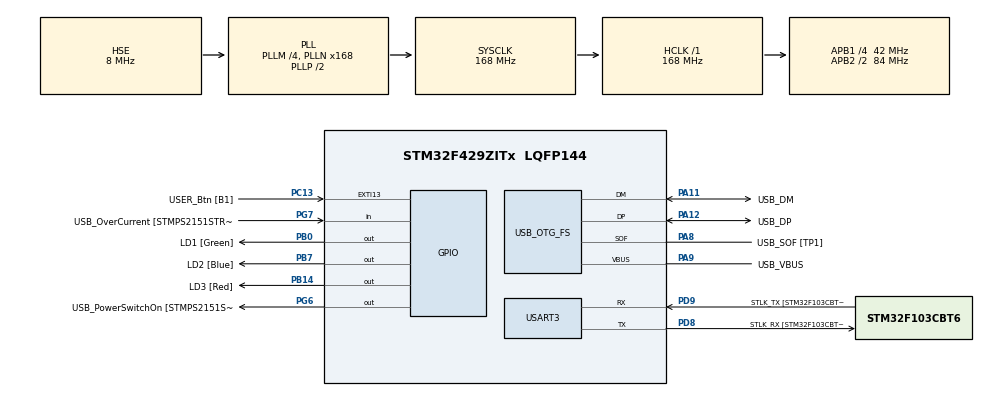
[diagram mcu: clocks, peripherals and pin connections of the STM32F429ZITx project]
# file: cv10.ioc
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Mcu.Family=STM32F4
Mcu.Name=STM32F429ZITx
Mcu.Package=LQFP144
NVIC.OTG_FS_IRQn=true\:0\:0\:false\:false\:true\:false\:true\:true
NVIC.PriorityGroup=NVIC_PRIORITYGROUP_4
PA1.GPIO_Label=RMII_REF_CLK [LAN8742A-CZ-TR_REFCLK0]
PA1.Signal=ETH_REF_CLK
PA10.GPIO_Label=USB_ID
PA10.Signal=USB_OTG_FS_ID
PA11.GPIO_Label=USB_DM
PA11.Mode=Device_Only
PA11.Signal=USB_OTG_FS_DM
PA12.GPIO_Label=USB_DP
PA12.Mode=Device_Only
PA12.Signal=USB_OTG_FS_DP
PA13.GPIO_Label=TMS
PA13.Mode=Serial_Wire
PA13.Signal=SYS_JTMS-SWDIO
PA14.GPIO_Label=TCK
PA14.Mode=Serial_Wire
PA14.Signal=SYS_JTCK-SWCLK
PA2.GPIO_Label=RMII_MDIO [LAN8742A-CZ-TR_MDIO]
PA2.Signal=ETH_MDIO
PA7.GPIO_Label=RMII_CRS_DV [LAN8742A-CZ-TR_CRS_DV]
PA7.Signal=ETH_CRS_DV
PA8.GPIO_Label=USB_SOF [TP1]
PA8.Mode=Activate_SOF_FS
PA8.Signal=USB_OTG_FS_SOF
PA9.GPIO_Label=USB_VBUS
PA9.Mode=Activate_VBUS
PA9.Signal=USB_OTG_FS_VBUS
PB0.GPIO_Label=LD1 [Green]
PB0.Signal=GPIO_Output
PB13.GPIO_Label=RMII_TXD1 [LAN8742A-CZ-TR_TXD1]
PB13.Signal=ETH_TXD1
PB14.GPIO_Label=LD3 [Red]
PB14.Signal=GPIO_Output
PB7.GPIO_Label=LD2 [Blue]
PB7.Signal=GPIO_Output
PC1.GPIO_Label=RMII_MDC [LAN8742A-CZ-TR_MDC]
PC1.Signal=ETH_MDC
PC13.GPIO_Label=USER_Btn [B1]
PC13.Signal=GPXTI13
PC14/OSC32_IN.Mode=LSE-External-Oscillator
PC14/OSC32_IN.Signal=RCC_OSC32_IN
PC15/OSC32_OUT.Mode=LSE-External-Oscillator
PC15/OSC32_OUT.Signal=RCC_OSC32_OUT
PC4.GPIO_Label=RMII_RXD0 [LAN8742A-CZ-TR_RXD0]
PC4.Signal=ETH_RXD0
PC5.GPIO_Label=RMII_RXD1 [LAN8742A-CZ-TR_RXD1]
PC5.Signal=ETH_RXD1
PD8.GPIO_Label=STLK_RX [STM32F103CBT6_PA3]
PD8.Mode=Asynchronous
PD8.Signal=USART3_TX
PD9.GPIO_Label=STLK_TX [STM32F103CBT6_PA2]
PD9.Mode=Asynchronous
PD9.Signal=USART3_RX
PG11.GPIO_Label=RMII_TX_EN [LAN8742A-CZ-TR_TXEN]
PG11.Signal=ETH_TX_EN
PG13.GPIO_Label=RMII_TXD0 [LAN8742A-CZ-TR_TXD0]
PG13.Signal=ETH_TXD0
PG6.GPIO_Label=USB_PowerSwitchOn [STMPS2151STR_EN]
PG6.Signal=GPIO_Output
PG7.GPIO_Label=USB_OverCurrent [STMPS2151STR_FAULT]
PG7.Signal=GPIO_Input
PH0/OSC_IN.GPIO_Label=MCO [STM32F103CBT6_PA8]
PH0/OSC_IN.Mode=HSE-External-Clock-Source
PH0/OSC_IN.Signal=RCC_OSC_IN
PH1/OSC_OUT.Mode=HSE-External-Clock-Source
PH1/OSC_OUT.Signal=RCC_OSC_OUT
ProjectManager.HeapSize=0x200
ProjectManager.StackSize=0x400
ProjectManager.TargetToolchain=STM32CubeIDE
RCC.48MHZClocksFreq_Value=48000000
RCC.AHBFreq_Value=168000000
RCC.APB1CLKDivider=RCC_HCLK_DIV4
RCC.APB1Freq_Value=42000000
RCC.APB1TimFreq_Value=84000000
RCC.APB2CLKDivider=RCC_HCLK_DIV2
RCC.APB2Freq_Value=84000000
RCC.APB2TimCLKDivider=2
RCC.APB2TimFreq_Value=168000000
RCC.CortexFreq_Value=168000000
RCC.HCLKFreq_Value=168000000
RCC.HSE_VALUE=8000000
RCC.HSI_VALUE=16000000
RCC.PLLM=4
RCC.PLLMUL=RCC_PLL_MUL9
RCC.PLLN=168
RCC.PLLQ=7
RCC.PRESCALERUSB=RCC_USBCLKSOURCE_PLL_DIV1_5
RCC.SYSCLKFreq_VALUE=168000000
RCC.SYSCLKSource=RCC_SYSCLKSOURCE_PLLCLK
RCC.SYSCLKSourceVirtual=RCC_SYSCLKSOURCE_PLLCLK
RCC.USBFreq_Value=48000000
RCC.VCOOutputFreq_Value=336000000
USART3.VirtualMode=VM_ASYNC
USB_DEVICE.CLASS_NAME_FS=HID
USB_DEVICE.VirtualMode-HID_FS=Hid
USB_DEVICE.VirtualModeFS=Hid_FS
USB_OTG_FS.VirtualMode=Device_Only
VP_USB_DEVICE_VS_USB_DEVICE_HID_FS.Mode=HID_FS
board=NUCLEO-F429ZI

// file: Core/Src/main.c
/* USER CODE BEGIN Header */
/**
  ******************************************************************************
  * @file           : main.c
  * @brief          : Main program body
  ******************************************************************************
  * @attention
  *
  * Copyright (c) 2024 STMicroelectronics.
  * All rights reserved.
  *
  * This software is licensed under terms that can be found in the LICENSE file
  * in the root directory of this software component.
  * If no LICENSE file comes with this software, it is provided AS-IS.
  *
  ******************************************************************************
  */
/* USER CODE END Header */
#include "main.h"
#include "usb_device.h"

/* USER CODE BEGIN Includes */
#include "usbd_hid.h"
#include "math.h"
/* USER CODE END Includes */

/* USER CODE BEGIN PD */
#define STEPSIZE 50
/* USER CODE END PD */

UART_HandleTypeDef huart3;
extern USBD_HandleTypeDef hUsbDeviceFS;

void SystemClock_Config(void);
static void MX_GPIO_Init(void);
static void MX_USART3_UART_Init(void);
void step(int x, int y, int btn);
void circle(int radius);

/* USER CODE BEGIN 0 */
void step(int x, int y, int btn)
{
	uint8_t buff[4];
	buff[0] = btn?0x01:0x00; // stiskni leve tlacitko
	buff[1] = (int8_t)(x); // posun X +10
	buff[2] = (int8_t)(y); // posun Y -3
	buff[3] = 0; // bez scrollu

	USBD_HID_SendReport(&hUsbDeviceFS, buff, sizeof(buff));
	HAL_Delay(USBD_HID_GetPollingInterval(&hUsbDeviceFS));
}

void circle(int radius)
{
	float angle = 0;
	float pi = 3.14159265359;
	float x = 0;
	float y = 0;
	float dx = 0;
	float dy = 0;
	float sx = radius*cosf(angle);
	float sy = radius*sinf(angle);
	float d_angle = 2*pi/STEPSIZE;
	uint8_t i = 1;

	for(i=0; i<=STEPSIZE+1;i++){
		angle = i*d_angle;
		x = (float)radius*cosf(angle);
		y = (float)radius*sinf(angle);
		dx = x-sx;
		dy = y-sy;
		step((int)dx,(int)dy,1);
		sx = x;
		sy = y;
	}
}

/* USER CODE END 0 */

int main(void)
{

  /* MCU Configuration--------------------------------------------------------*/

  /* Reset of all peripherals, Initializes the Flash interface and the Systick. */
  HAL_Init();

  /* Configure the system clock */
  SystemClock_Config();

  /* Initialize all configured peripherals */
  MX_GPIO_Init();
  MX_USART3_UART_Init();
  MX_USB_DEVICE_Init();

  /* Infinite loop */
  while (1)
  {

    /* USER CODE BEGIN 3 */
//	  uint8_t buff[4];
//	  buff[0] = 0x01; // press the left button
//	  buff[1] = (int8_t)(10); // shift X +10
//	  buff[2] = (int8_t)(-3); // shift Y -3
//	  buff[3] = 0; // no scroll
//	  USBD_HID_SendReport(&hUsbDeviceFS, buff, sizeof(buff));
	  //	  HAL_Delay(USBD_HID_GetPollingInterval(&hUsbDeviceFS));
	  if(HAL_GPIO_ReadPin(USER_Btn_GPIO_Port, USER_Btn_Pin)){
		  circle(160);
		  step(0,0,0);
		  step(-50,-40,0);
		  circle(45);
		  step(0,0,0);
		  step(-100,0,0);
		  circle(45);
		  step(0,0,0);
		  step(0,100,0);
		  step(90,0,0);
		  step(0,0,1);
		  step(-110,0,1);
		  step(0,0,0);
	  }else{
		  step(0,0,0);
	  }
  }
  /* USER CODE END 3 */
}

void SystemClock_Config(void)
{
  RCC_OscInitTypeDef RCC_OscInitStruct = {0};
  RCC_ClkInitTypeDef RCC_ClkInitStruct = {0};

  /** Configure the main internal regulator output voltage
  */
  __HAL_RCC_PWR_CLK_ENABLE();
  __HAL_PWR_VOLTAGESCALING_CONFIG(PWR_REGULATOR_VOLTAGE_SCALE1);

  /** Initializes the RCC Oscillators according to the specified parameters
  * in the RCC_OscInitTypeDef structure.
  */
  RCC_OscInitStruct.OscillatorType = RCC_OSCILLATORTYPE_HSE;
  RCC_OscInitStruct.HSEState = RCC_HSE_BYPASS;
  RCC_OscInitStruct.PLL.PLLState = RCC_PLL_ON;
  RCC_OscInitStruct.PLL.PLLSource = RCC_PLLSOURCE_HSE;
  RCC_OscInitStruct.PLL.PLLM = 4;
  RCC_OscInitStruct.PLL.PLLN = 168;
  RCC_OscInitStruct.PLL.PLLP = RCC_PLLP_DIV2;
  RCC_OscInitStruct.PLL.PLLQ = 7;
  if (HAL_RCC_OscConfig(&RCC_OscInitStruct) != HAL_OK)
  {
    Error_Handler();
  }

  /** Initializes the CPU, AHB and APB buses clocks
  */
  RCC_ClkInitStruct.ClockType = RCC_CLOCKTYPE_HCLK|RCC_CLOCKTYPE_SYSCLK
                              |RCC_CLOCKTYPE_PCLK1|RCC_CLOCKTYPE_PCLK2;
  RCC_ClkInitStruct.SYSCLKSource = RCC_SYSCLKSOURCE_PLLCLK;
  RCC_ClkInitStruct.AHBCLKDivider = RCC_SYSCLK_DIV1;
  RCC_ClkInitStruct.APB1CLKDivider = RCC_HCLK_DIV4;
  RCC_ClkInitStruct.APB2CLKDivider = RCC_HCLK_DIV2;

  if (HAL_RCC_ClockConfig(&RCC_ClkInitStruct, FLASH_LATENCY_5) != HAL_OK)
  {
    Error_Handler();
  }
}

static void MX_USART3_UART_Init(void)
{

  huart3.Instance = USART3;
  huart3.Init.BaudRate = 115200;
  huart3.Init.WordLength = UART_WORDLENGTH_8B;
  huart3.Init.StopBits = UART_STOPBITS_1;
  huart3.Init.Parity = UART_PARITY_NONE;
  huart3.Init.Mode = UART_MODE_TX_RX;
  huart3.Init.HwFlowCtl = UART_HWCONTROL_NONE;
  huart3.Init.OverSampling = UART_OVERSAMPLING_16;
  if (HAL_UART_Init(&huart3) != HAL_OK)
  {
    Error_Handler();
  }

}

static void MX_GPIO_Init(void)
{
  GPIO_InitTypeDef GPIO_InitStruct = {0};

  /* GPIO Ports Clock Enable */
  __HAL_RCC_GPIOC_CLK_ENABLE();
  __HAL_RCC_GPIOH_CLK_ENABLE();
  __HAL_RCC_GPIOA_CLK_ENABLE();
  __HAL_RCC_GPIOB_CLK_ENABLE();
  __HAL_RCC_GPIOD_CLK_ENABLE();
  __HAL_RCC_GPIOG_CLK_ENABLE();

  /*Configure GPIO pin Output Level */
  HAL_GPIO_WritePin(GPIOB, LD1_Pin|LD3_Pin|LD2_Pin, GPIO_PIN_RESET);

  /*Configure GPIO pin Output Level */
  HAL_GPIO_WritePin(USB_PowerSwitchOn_GPIO_Port, USB_PowerSwitchOn_Pin, GPIO_PIN_RESET);

  /*Configure GPIO pin : USER_Btn_Pin */
  GPIO_InitStruct.Pin = USER_Btn_Pin;
  GPIO_InitStruct.Mode = GPIO_MODE_IT_RISING;
  GPIO_InitStruct.Pull = GPIO_NOPULL;
  HAL_GPIO_Init(USER_Btn_GPIO_Port, &GPIO_InitStruct);

  /*Configure GPIO pins : RMII_MDC_Pin RMII_RXD0_Pin RMII_RXD1_Pin */
  GPIO_InitStruct.Pin = RMII_MDC_Pin|RMII_RXD0_Pin|RMII_RXD1_Pin;
  GPIO_InitStruct.Mode = GPIO_MODE_AF_PP;
  GPIO_InitStruct.Pull = GPIO_NOPULL;
  GPIO_InitStruct.Speed = GPIO_SPEED_FREQ_VERY_HIGH;
  GPIO_InitStruct.Alternate = GPIO_AF11_ETH;
  HAL_GPIO_Init(GPIOC, &GPIO_InitStruct);

  /*Configure GPIO pins : RMII_REF_CLK_Pin RMII_MDIO_Pin RMII_CRS_DV_Pin */
  GPIO_InitStruct.Pin = RMII_REF_CLK_Pin|RMII_MDIO_Pin|RMII_CRS_DV_Pin;
  GPIO_InitStruct.Mode = GPIO_MODE_AF_PP;
  GPIO_InitStruct.Pull = GPIO_NOPULL;
  GPIO_InitStruct.Speed = GPIO_SPEED_FREQ_VERY_HIGH;
  GPIO_InitStruct.Alternate = GPIO_AF11_ETH;
  HAL_GPIO_Init(GPIOA, &GPIO_InitStruct);

  /*Configure GPIO pins : LD1_Pin LD3_Pin LD2_Pin */
  GPIO_InitStruct.Pin = LD1_Pin|LD3_Pin|LD2_Pin;
  GPIO_InitStruct.Mode = GPIO_MODE_OUTPUT_PP;
  GPIO_InitStruct.Pull = GPIO_NOPULL;
  GPIO_InitStruct.Speed = GPIO_SPEED_FREQ_LOW;
  HAL_GPIO_Init(GPIOB, &GPIO_InitStruct);

  /*Configure GPIO pin : RMII_TXD1_Pin */
  GPIO_InitStruct.Pin = RMII_TXD1_Pin;
  GPIO_InitStruct.Mode = GPIO_MODE_AF_PP;
  GPIO_InitStruct.Pull = GPIO_NOPULL;
  GPIO_InitStruct.Speed = GPIO_SPEED_FREQ_VERY_HIGH;
  GPIO_InitStruct.Alternate = GPIO_AF11_ETH;
  HAL_GPIO_Init(RMII_TXD1_GPIO_Port, &GPIO_InitStruct);

  /*Configure GPIO pin : USB_PowerSwitchOn_Pin */
  GPIO_InitStruct.Pin = USB_PowerSwitchOn_Pin;
  GPIO_InitStruct.Mode = GPIO_MODE_OUTPUT_PP;
  GPIO_InitStruct.Pull = GPIO_NOPULL;
  GPIO_InitStruct.Speed = GPIO_SPEED_FREQ_LOW;
  HAL_GPIO_Init(USB_PowerSwitchOn_GPIO_Port, &GPIO_InitStruct);

  /*Configure GPIO pin : USB_OverCurrent_Pin */
  GPIO_InitStruct.Pin = USB_OverCurrent_Pin;
  GPIO_InitStruct.Mode = GPIO_MODE_INPUT;
  GPIO_InitStruct.Pull = GPIO_NOPULL;
  HAL_GPIO_Init(USB_OverCurrent_GPIO_Port, &GPIO_InitStruct);

  /*Configure GPIO pins : RMII_TX_EN_Pin RMII_TXD0_Pin */
  GPIO_InitStruct.Pin = RMII_TX_EN_Pin|RMII_TXD0_Pin;
  GPIO_InitStruct.Mode = GPIO_MODE_AF_PP;
  GPIO_InitStruct.Pull = GPIO_NOPULL;
  GPIO_InitStruct.Speed = GPIO_SPEED_FREQ_VERY_HIGH;
  GPIO_InitStruct.Alternate = GPIO_AF11_ETH;
  HAL_GPIO_Init(GPIOG, &GPIO_InitStruct);

}

void Error_Handler(void)
{
  __disable_irq();
  while (1)
  {
  }
}
